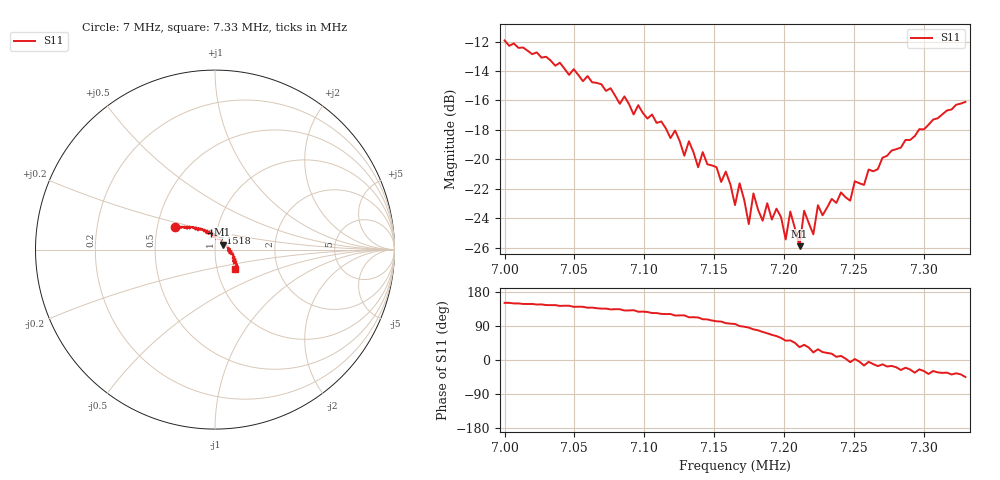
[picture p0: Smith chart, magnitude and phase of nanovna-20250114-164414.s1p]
# Hz S RI R 50
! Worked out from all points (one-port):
!   101 points, 7 MHz to 7.33 MHz, reference 50 ohm
!   lowest |S11| = -25.9 dB at 7.2112 MHz (marker M1), VSWR 1.11, Z = 54.3 + j3.08 ohm
!   |S11| at or under -10 dB: start of sweep to end of sweep
!   S11 on the Smith chart (normalised r, x): 7 MHz: 0.62, +0.16; 7.1518 MHz: 0.95, +0.18; 7.33 MHz: 1.22, -0.28
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7000000  -0.2213 0.1234
7042900  -0.1628 0.1216
7082500  -0.1072 0.1111
7125400  -0.0536 0.1021
7128700  -0.0479 0.091
7132000  -0.0446 0.1062
7138600  -0.0356 0.087
7141900  -0.0321 0.1008
7151800  -0.0198 0.0919
7158400  -0.0115 0.0901
7165000  -0.00621 0.0696
7168300  0.00068 0.0829
7174900  0.00489 0.06
7178200  0.0122 0.0756
7184800  0.0169 0.0595
7188100  0.0238 0.0668
7198000  0.0335 0.054
7201300  0.0336 0.0415
7204600  0.0412 0.0521
7207900  0.0409 0.0414
7211200  0.0421 0.0283
7214500  0.0512 0.043
7221100  0.0522 0.019
7224400  0.0615 0.0331
7247500  0.072 -0.00729
7250800  0.0841 0.00386
7290400  0.1054 -0.0493
7330000  0.1109 -0.1107
